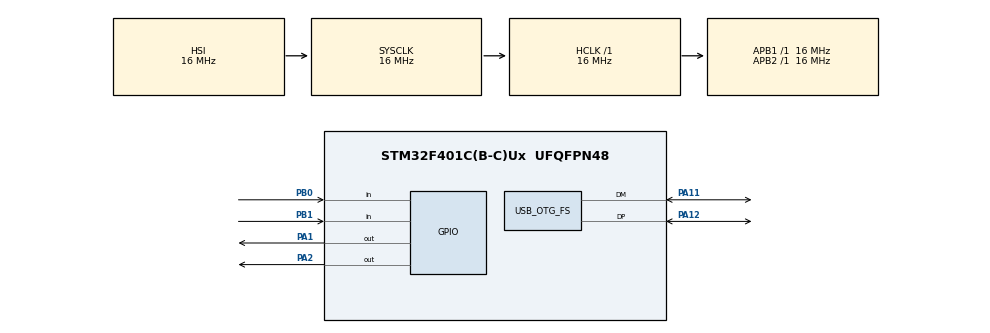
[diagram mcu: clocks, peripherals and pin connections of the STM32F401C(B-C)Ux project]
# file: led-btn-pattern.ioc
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Mcu.Family=STM32F4
Mcu.Name=STM32F401C(B-C)Ux
Mcu.Package=UFQFPN48
NVIC.OTG_FS_IRQn=true\:0\:0\:false\:false\:true\:false\:true\:true
NVIC.PriorityGroup=NVIC_PRIORITYGROUP_4
PA1.Signal=GPIO_Output
PA11.Mode=Device_Only
PA11.Signal=USB_OTG_FS_DM
PA12.Mode=Device_Only
PA12.Signal=USB_OTG_FS_DP
PA2.Signal=GPIO_Output
PB0.Signal=GPIO_Input
PB1.Signal=GPIO_Input
PH0\ -\ OSC_IN.Mode=HSE-External-Oscillator
PH0\ -\ OSC_IN.Signal=RCC_OSC_IN
PH1\ -\ OSC_OUT.Mode=HSE-External-Oscillator
PH1\ -\ OSC_OUT.Signal=RCC_OSC_OUT
ProjectManager.HeapSize=0x200
ProjectManager.StackSize=0x400
ProjectManager.TargetToolchain=STM32CubeIDE
RCC.48MHZClocksFreq_Value=48000000
RCC.AHBFreq_Value=16000000
RCC.APB1Freq_Value=16000000
RCC.APB2Freq_Value=16000000
RCC.CortexFreq_Value=16000000
RCC.HSE_VALUE=25000000
RCC.HSI_VALUE=16000000
RCC.LSE_VALUE=32768
RCC.PLLM=15
RCC.PLLN=144
RCC.PLLQ=5
RCC.SYSCLKFreq_VALUE=16000000
RCC.VCOOutputFreq_Value=240000000
USB_DEVICE.CLASS_NAME_FS=CDC
USB_DEVICE.VirtualMode=Cdc
USB_DEVICE.VirtualModeFS=Cdc_FS
USB_OTG_FS.VirtualMode=Device_Only
VP_USB_DEVICE_VS_USB_DEVICE_CDC_FS.Mode=CDC_FS
board=custom

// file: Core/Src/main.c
/* USER CODE BEGIN Header */
/**
  ******************************************************************************
  * @file           : main.c
  * @brief          : Main program body
  ******************************************************************************
  * @attention
  *
  * Copyright (c) 2026 STMicroelectronics.
  * All rights reserved.
  *
  * This software is licensed under terms that can be found in the LICENSE file
  * in the root directory of this software component.
  * If no LICENSE file comes with this software, it is provided AS-IS.
  *
  ******************************************************************************
  */
/* USER CODE END Header */
#include "main.h"
#include "usb_device.h"

/* USER CODE BEGIN Includes */
#include "usbd_cdc_if.h"
#include <stdbool.h>
#include <stdint.h>
#include <string.h>
/* USER CODE END Includes */

/* USER CODE BEGIN PTD */
typedef enum
{
    BUTTON_ACTION_NONE = 0,
    BUTTON_ACTION_SLOW,
    BUTTON_ACTION_FAST
} PendingButtonAction;
/* USER CODE END PTD */

/* USER CODE BEGIN PD */
#define SLOW_BLINK_INTERVAL_MS        2000UL
#define FAST_BLINK_INTERVAL_MS         250UL
#define MIN_ACCELERATION_INTERVAL_MS   100UL
#define DEBOUNCE_DELAY_MS               50UL
#define BUTTON_COMBINATION_WINDOW_MS   150UL

#define SLOWER_BUTTON_PORT GPIOB
#define SLOWER_BUTTON_PIN  GPIO_PIN_0
#define FASTER_BUTTON_PORT GPIOB
#define FASTER_BUTTON_PIN  GPIO_PIN_1
#define BUTTON_PRESSED_LEVEL GPIO_PIN_SET

#define LED_PRIMARY_PORT   GPIOA
#define LED_PRIMARY_PIN    GPIO_PIN_1
#define LED_SECONDARY_PORT GPIOA
#define LED_SECONDARY_PIN  GPIO_PIN_2
/* USER CODE END PD */

/* USER CODE BEGIN PV */
static GPIO_PinState ledState = GPIO_PIN_RESET;
static uint32_t blinkIntervalMs = SLOW_BLINK_INTERVAL_MS;
static uint32_t previousBlinkTimeMs = 0U;
static bool isAccelerating = false;
/* USER CODE END PV */

void SystemClock_Config(void);
static void MX_GPIO_Init(void);
/* USER CODE BEGIN PFP */
static void updateBlinking(void);
static void updateButtons(void);
static void setLedStates(void);
static void enableSlowMode(void);
static void enableFastMode(void);
static void enableAccelerationMode(void);
static void usbPrint(const char *message);
/* USER CODE END PFP */

int main(void)
{

  /* MCU Configuration--------------------------------------------------------*/

  /* Reset of all peripherals, Initializes the Flash interface and the Systick. */
  HAL_Init();

  /* Configure the system clock */
  SystemClock_Config();

  /* Initialize all configured peripherals */
  MX_GPIO_Init();
  MX_USB_DEVICE_Init();
  /* USER CODE BEGIN 2 */
  setLedStates();

  /* Allow the host enough time to enumerate the USB CDC device. */
  HAL_Delay(1000);
/* USER CODE END 2 */

  /* Infinite loop */
  /* USER CODE BEGIN WHILE */
  while (1)
  {
    updateButtons();
    updateBlinking();
/* USER CODE END WHILE */

  }
}

void SystemClock_Config(void)
{
  RCC_OscInitTypeDef RCC_OscInitStruct = {0};
  RCC_ClkInitTypeDef RCC_ClkInitStruct = {0};

  /** Configure the main internal regulator output voltage
  */
  __HAL_RCC_PWR_CLK_ENABLE();
  __HAL_PWR_VOLTAGESCALING_CONFIG(PWR_REGULATOR_VOLTAGE_SCALE2);

  /** Initializes the RCC Oscillators according to the specified parameters
  * in the RCC_OscInitTypeDef structure.
  */
  RCC_OscInitStruct.OscillatorType = RCC_OSCILLATORTYPE_HSI|RCC_OSCILLATORTYPE_HSE;
  RCC_OscInitStruct.HSEState = RCC_HSE_ON;
  RCC_OscInitStruct.HSIState = RCC_HSI_ON;
  RCC_OscInitStruct.HSICalibrationValue = RCC_HSICALIBRATION_DEFAULT;
  RCC_OscInitStruct.PLL.PLLState = RCC_PLL_ON;
  RCC_OscInitStruct.PLL.PLLSource = RCC_PLLSOURCE_HSE;
  RCC_OscInitStruct.PLL.PLLM = 15;
  RCC_OscInitStruct.PLL.PLLN = 144;
  RCC_OscInitStruct.PLL.PLLP = RCC_PLLP_DIV2;
  RCC_OscInitStruct.PLL.PLLQ = 5;
  if (HAL_RCC_OscConfig(&RCC_OscInitStruct) != HAL_OK)
  {
    Error_Handler();
  }

  /** Initializes the CPU, AHB and APB buses clocks
  */
  RCC_ClkInitStruct.ClockType = RCC_CLOCKTYPE_HCLK|RCC_CLOCKTYPE_SYSCLK
                              |RCC_CLOCKTYPE_PCLK1|RCC_CLOCKTYPE_PCLK2;
  RCC_ClkInitStruct.SYSCLKSource = RCC_SYSCLKSOURCE_HSI;
  RCC_ClkInitStruct.AHBCLKDivider = RCC_SYSCLK_DIV1;
  RCC_ClkInitStruct.APB1CLKDivider = RCC_HCLK_DIV1;
  RCC_ClkInitStruct.APB2CLKDivider = RCC_HCLK_DIV1;

  if (HAL_RCC_ClockConfig(&RCC_ClkInitStruct, FLASH_LATENCY_0) != HAL_OK)
  {
    Error_Handler();
  }
}

static void MX_GPIO_Init(void)
{
  GPIO_InitTypeDef GPIO_InitStruct = {0};

  /* GPIO Ports Clock Enable */
  __HAL_RCC_GPIOH_CLK_ENABLE();
  __HAL_RCC_GPIOA_CLK_ENABLE();
  __HAL_RCC_GPIOB_CLK_ENABLE();

  /*Configure GPIO pin Output Level */
  HAL_GPIO_WritePin(GPIOA, GPIO_PIN_1|GPIO_PIN_2, GPIO_PIN_RESET);

  /*Configure GPIO pins : PA1 PA2 */
  GPIO_InitStruct.Pin = GPIO_PIN_1|GPIO_PIN_2;
  GPIO_InitStruct.Mode = GPIO_MODE_OUTPUT_PP;
  GPIO_InitStruct.Pull = GPIO_NOPULL;
  GPIO_InitStruct.Speed = GPIO_SPEED_FREQ_LOW;
  HAL_GPIO_Init(GPIOA, &GPIO_InitStruct);

  /*Configure GPIO pins : PB0 PB1 */
  GPIO_InitStruct.Pin = GPIO_PIN_0|GPIO_PIN_1;
  GPIO_InitStruct.Mode = GPIO_MODE_INPUT;
  GPIO_InitStruct.Pull = GPIO_NOPULL;
  HAL_GPIO_Init(GPIOB, &GPIO_InitStruct);

  /* USER CODE BEGIN MX_GPIO_Init_2 */
  /* Override the generated no-pull configuration. The buttons are wired
     active-high, so pull-down resistors keep released inputs stable. */
  GPIO_InitStruct.Pin = SLOWER_BUTTON_PIN | FASTER_BUTTON_PIN;
  GPIO_InitStruct.Mode = GPIO_MODE_INPUT;
  GPIO_InitStruct.Pull = GPIO_PULLDOWN;
  HAL_GPIO_Init(GPIOB, &GPIO_InitStruct);
/* USER CODE END MX_GPIO_Init_2 */
}

/* USER CODE BEGIN 4 */
static void usbPrint(const char *message)
{
    /* Debug output is non-critical. Drop the message if USB is unavailable
       or the previous CDC transfer is still in progress. */
    (void)CDC_Transmit_FS((uint8_t *)message, (uint16_t)strlen(message));
}

static void updateBlinking(void)
{
    const uint32_t nowMs = HAL_GetTick();

    if ((nowMs - previousBlinkTimeMs) < blinkIntervalMs)
    {
        return;
    }

    previousBlinkTimeMs = nowMs;
    ledState = (ledState == GPIO_PIN_SET) ? GPIO_PIN_RESET : GPIO_PIN_SET;
    setLedStates();

    if (!isAccelerating)
    {
        return;
    }

    /* Shorten the period to 80%. Restart after reaching the minimum so the
       acceleration pattern repeats indefinitely. */
    blinkIntervalMs = (blinkIntervalMs * 5UL) / 10UL;

    if (blinkIntervalMs <= MIN_ACCELERATION_INTERVAL_MS)
    {
        blinkIntervalMs = SLOW_BLINK_INTERVAL_MS;
    }
}

static void updateButtons(void)
{
    static bool initialized = false;

    static GPIO_PinState rawSlowerState;
    static GPIO_PinState rawFasterState;
    static GPIO_PinState stableSlowerState;
    static GPIO_PinState stableFasterState;

    static uint32_t slowerChangedAtMs = 0U;
    static uint32_t fasterChangedAtMs = 0U;

    static PendingButtonAction pendingAction = BUTTON_ACTION_NONE;
    static uint32_t pendingActionStartedAtMs = 0U;

    const uint32_t nowMs = HAL_GetTick();
    const GPIO_PinState currentRawSlowerState =
        HAL_GPIO_ReadPin(SLOWER_BUTTON_PORT, SLOWER_BUTTON_PIN);
    const GPIO_PinState currentRawFasterState =
        HAL_GPIO_ReadPin(FASTER_BUTTON_PORT, FASTER_BUTTON_PIN);

    if (!initialized)
    {
        rawSlowerState = currentRawSlowerState;
        rawFasterState = currentRawFasterState;
        stableSlowerState = currentRawSlowerState;
        stableFasterState = currentRawFasterState;
        slowerChangedAtMs = nowMs;
        fasterChangedAtMs = nowMs;
        initialized = true;
        return;
    }

    if (currentRawSlowerState != rawSlowerState)
    {
        rawSlowerState = currentRawSlowerState;
        slowerChangedAtMs = nowMs;
    }

    if (currentRawFasterState != rawFasterState)
    {
        rawFasterState = currentRawFasterState;
        fasterChangedAtMs = nowMs;
    }

    bool slowerPressedEdge = false;
    bool fasterPressedEdge = false;

    if ((rawSlowerState != stableSlowerState) &&
        ((nowMs - slowerChangedAtMs) >= DEBOUNCE_DELAY_MS))
    {
        stableSlowerState = rawSlowerState;
        slowerPressedEdge = (stableSlowerState == BUTTON_PRESSED_LEVEL);
    }

    if ((rawFasterState != stableFasterState) &&
        ((nowMs - fasterChangedAtMs) >= DEBOUNCE_DELAY_MS))
    {
        stableFasterState = rawFasterState;
        fasterPressedEdge = (stableFasterState == BUTTON_PRESSED_LEVEL);
    }

    const bool slowerIsHeld = (stableSlowerState == BUTTON_PRESSED_LEVEL);
    const bool fasterIsHeld = (stableFasterState == BUTTON_PRESSED_LEVEL);

    /* A two-button chord takes priority over either pending single press. */
    if (slowerIsHeld && fasterIsHeld)
    {
        pendingAction = BUTTON_ACTION_NONE;

        if (!isAccelerating)
        {
            enableAccelerationMode();
        }

        return;
    }

    if (slowerPressedEdge)
    {
        pendingAction = BUTTON_ACTION_SLOW;
        pendingActionStartedAtMs = nowMs;
    }
    else if (fasterPressedEdge)
    {
        pendingAction = BUTTON_ACTION_FAST;
        pendingActionStartedAtMs = nowMs;
    }

    if ((pendingAction == BUTTON_ACTION_NONE) ||
        ((nowMs - pendingActionStartedAtMs) < BUTTON_COMBINATION_WINDOW_MS))
    {
        return;
    }

    const PendingButtonAction actionToRun = pendingAction;
    pendingAction = BUTTON_ACTION_NONE;

    if (actionToRun == BUTTON_ACTION_SLOW)
    {
        enableSlowMode();
    }
    else
    {
        enableFastMode();
    }
}

static void setLedStates(void)
{
    HAL_GPIO_WritePin(
        LED_PRIMARY_PORT,
        LED_PRIMARY_PIN,
        ledState
    );

    HAL_GPIO_WritePin(
        LED_SECONDARY_PORT,
        LED_SECONDARY_PIN,
        (ledState == GPIO_PIN_SET) ? GPIO_PIN_RESET : GPIO_PIN_SET
    );
}

static void enableSlowMode(void)
{
    blinkIntervalMs = SLOW_BLINK_INTERVAL_MS;
    isAccelerating = false;
    usbPrint("Slow mode enabled\r\n");
}

static void enableFastMode(void)
{
    blinkIntervalMs = FAST_BLINK_INTERVAL_MS;
    isAccelerating = false;
    usbPrint("Fast mode enabled\r\n");
}

static void enableAccelerationMode(void)
{
    blinkIntervalMs = SLOW_BLINK_INTERVAL_MS;
    isAccelerating = true;
    usbPrint("Acceleration mode enabled\r\n");
}
/* USER CODE END 4 */

void Error_Handler(void)
{
  /* USER CODE BEGIN Error_Handler_Debug */
  /* Disable interrupts and remain here so the debugger can inspect state. */
  __disable_irq();
  while (1)
  {
  }
/* USER CODE END Error_Handler_Debug */
}
#ifdef USE_FULL_ASSERT
/**
  * @brief  Reports the name of the source file and the source line number
  *         where the assert_param error has occurred.
  * @param  file: pointer to the source file name
  * @param  line: assert_param error line source number
  * @retval None
  */
void assert_failed(uint8_t *file, uint32_t line)
{
  /* USER CODE BEGIN 6 */
  /* Add project-specific assertion reporting here when needed. */
/* USER CODE END 6 */
}
#endif /* USE_FULL_ASSERT */
